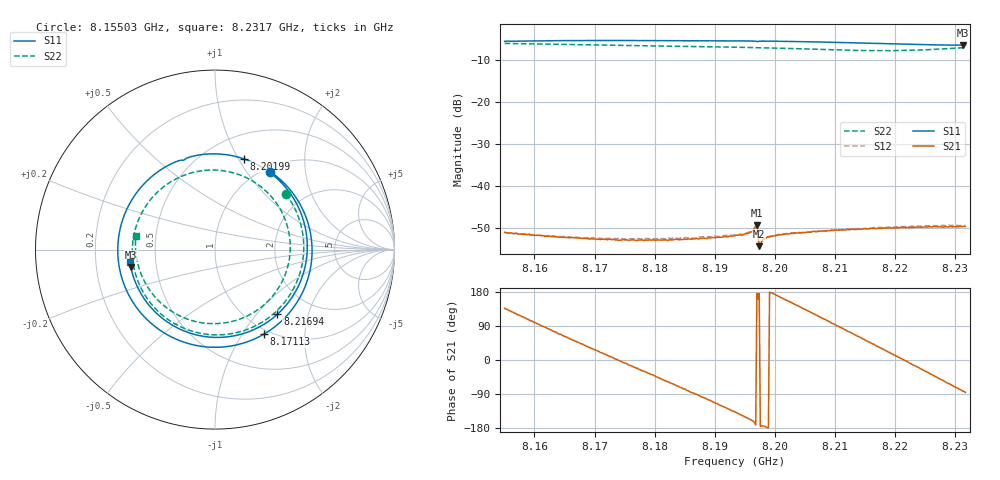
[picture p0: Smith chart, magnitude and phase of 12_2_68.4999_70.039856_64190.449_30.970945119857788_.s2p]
#  HZ  S  RI  R  50.00
! Rohde & Schwarz Vector Network Analyzer
! Rohde-Schwarz,ZNB20-2Port,1311601062101988,3.16
! Created: UTC 3/20/2024, 5:04:13 PM
! freq[Hz]  re:S11  im:S11  re:S21  im:S21  re:S12  im:S12  re:S22  im:S22
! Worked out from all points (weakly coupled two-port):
!   401 points, 8.15503 GHz to 8.2317 GHz, reference 50 ohm
!   highest |S21| = -49.38 dB at 8.19701 GHz (marker M1); lowest = -54.4 dB at 8.19739 GHz (marker M2)
!   lowest |S11| = -6.4 dB at 8.23131 GHz (marker M3), VSWR 2.84, Z = 17.8 - j4.47 ohm
!   |S11| at or under -10 dB: nowhere
!   |S22| runs from -7.7 to -6.0 dB; largest |S21 - S12| = 0.00026
!   S11 on the Smith chart (normalised r, x): 8.15503 GHz: 1.07, +1.30; 8.17113 GHz: 0.93, -1.25; 8.20199 GHz: 0.75, +1.05; 8.21694 GHz: 1.35, -1.30; 8.2317 GHz: 0.35, -0.06
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8.155031e9  0.3069 0.4349  -0.00201 0.00192  -0.00199 0.00193  0.3944 0.3108
8.16174e9  0.5364 0.0626  0.000148 0.00248  0.000147 0.00253  0.4863 -0.0779
8.167873e9  0.4343 -0.3268  0.00174 0.00159  0.00177 0.00164  0.2986 -0.3797
8.171131e9  0.2704 -0.4724  0.00218 0.000761  0.00223 0.000786  0.1285 -0.4605
8.175923e9  -0.0441 -0.5426  0.00218 -0.000565  0.00226 -0.000537  -0.1419 -0.4501
8.180714e9  -0.3452 -0.42  0.00152 -0.00165  0.00155 -0.00173  -0.3601 -0.2965
8.187039e9  -0.5404 -0.0395  -5.23e-05 -0.00236  -0.000129 -0.0024  -0.4589 0.0335
8.193364e9  -0.3954 0.3663  -0.00186 -0.00173  -0.00196 -0.00173  -0.3005 0.3384
8.196622e9  -0.2049 0.4943  -0.00299 -0.000794  -0.00308 -0.00068  -0.1409 0.4249
8.197006e9  -0.1771 0.4982  -0.00338 0.000276  -0.00346 0.000414  -0.1202 0.4303
8.197389e9  -0.1609 0.5078  -0.0019 0.000133  -0.00196 0.000188  -0.0993 0.4351
8.197772e9  -0.1336 0.5177  -0.00212 -0.000249  -0.00219 -0.000175  -0.0776 0.4387
8.201989e9  0.1614 0.5053  -0.00246 0.00104  -0.00243 0.00114  0.1576 0.4084
8.206206e9  0.4025 0.3356  -0.00161 0.00235  -0.00152 0.0024  0.3448 0.2548
8.211572e9  0.5128 -0.022  0.000481 0.00292  0.000554 0.00295  0.4143 -0.0526
8.216939e9  0.3472 -0.3606  0.00247 0.00183  0.00258 0.00183  0.2416 -0.3327
8.219047e9  0.2201 -0.4442  0.00296 0.00105  0.00307 0.000997  0.1195 -0.3936
8.221922e9  0.0183 -0.4894  0.00317 -0.000195  0.00326 -0.000357  -0.0696 -0.4084
8.224797e9  -0.1842 -0.4483  0.00287 -0.00148  0.00288 -0.00167  -0.2501 -0.3382
8.228247e9  -0.3785 -0.2962  0.00178 -0.0027  0.00172 -0.00289  -0.4026 -0.1583
8.231314e9  -0.4691 -0.097  0.000443 -0.00322  0.000297 -0.00333  -0.4429 0.051
8.231697e9  -0.474 -0.0698  0.000255 -0.00325  3.69e-05 -0.00336  -0.4407 0.0778
